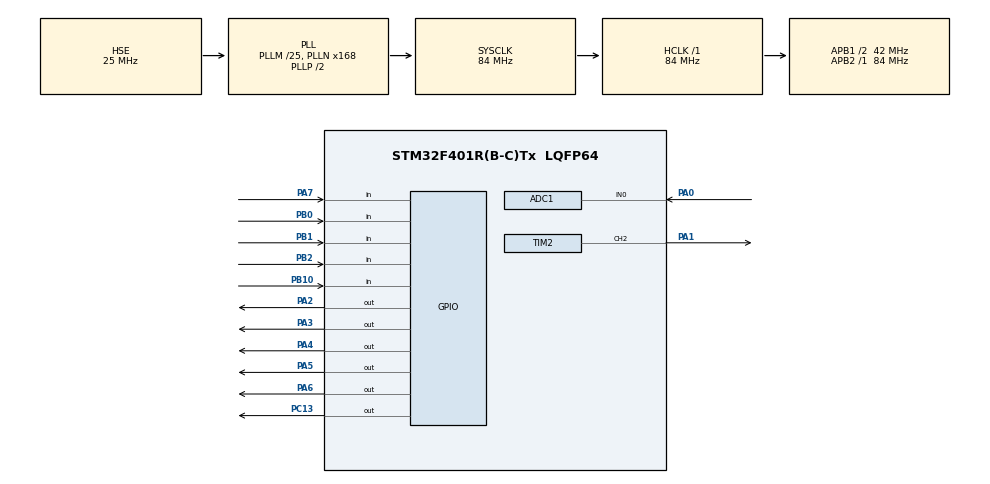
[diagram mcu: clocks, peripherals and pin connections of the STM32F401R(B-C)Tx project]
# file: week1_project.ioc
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ADC1.Channel-0\#ChannelRegularConversion=ADC_CHANNEL_0
ADC1.NbrOfConversionFlag=1
ADC1.Rank-0\#ChannelRegularConversion=1
ADC1.SamplingTime-0\#ChannelRegularConversion=ADC_SAMPLETIME_3CYCLES
ADC1.master=1
Mcu.Family=STM32F4
Mcu.Name=STM32F401R(B-C)Tx
Mcu.Package=LQFP64
NVIC.PriorityGroup=NVIC_PRIORITYGROUP_4
PA0-WKUP.Signal=ADCx_IN0
PA1.Signal=S_TIM2_CH2
PA2.Signal=GPIO_Output
PA3.Signal=GPIO_Output
PA4.Signal=GPIO_Output
PA5.Signal=GPIO_Output
PA6.Signal=GPIO_Output
PA7.GPIO_PuPd=GPIO_PULLUP
PA7.Signal=GPIO_Input
PB0.GPIO_PuPd=GPIO_PULLUP
PB0.Signal=GPIO_Input
PB1.GPIO_PuPd=GPIO_PULLUP
PB1.Signal=GPIO_Input
PB10.GPIO_PuPd=GPIO_PULLUP
PB10.Signal=GPIO_Input
PB2.GPIO_PuPd=GPIO_PULLUP
PB2.Signal=GPIO_Input
PC13-ANTI_TAMP.Signal=GPIO_Output
PH0\ -\ OSC_IN.Mode=HSE-External-Oscillator
PH0\ -\ OSC_IN.Signal=RCC_OSC_IN
PH1\ -\ OSC_OUT.Mode=HSE-External-Oscillator
PH1\ -\ OSC_OUT.Signal=RCC_OSC_OUT
ProjectManager.HeapSize=0x200
ProjectManager.StackSize=0x400
ProjectManager.TargetToolchain=STM32CubeIDE
RCC.48MHZClocksFreq_Value=42000000
RCC.AHBFreq_Value=84000000
RCC.APB1CLKDivider=RCC_HCLK_DIV2
RCC.APB1Freq_Value=42000000
RCC.APB1TimFreq_Value=84000000
RCC.APB2Freq_Value=84000000
RCC.APB2TimFreq_Value=84000000
RCC.CortexFreq_Value=84000000
RCC.HCLKFreq_Value=84000000
RCC.HSE_VALUE=25000000
RCC.HSI_VALUE=16000000
RCC.LSE_VALUE=32768
RCC.PLLM=25
RCC.PLLN=168
RCC.PLLSourceVirtual=RCC_PLLSOURCE_HSE
RCC.SYSCLKFreq_VALUE=84000000
RCC.SYSCLKSource=RCC_SYSCLKSOURCE_PLLCLK
RCC.VCOOutputFreq_Value=168000000
SH.ADCx_IN0.0=ADC1_IN0,IN0
SH.S_TIM2_CH2.0=TIM2_CH2,PWM Generation2 CH2
TIM2.Channel-PWM\ Generation2\ CH2=TIM_CHANNEL_2
VP_TIM2_VS_ClockSourceINT.Mode=Internal
board=custom

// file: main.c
/* USER CODE BEGIN Header */
/**
  ******************************************************************************
  * @file           : main.c
  * @brief          : Main program body
  ******************************************************************************
  * @attention
  *
  * Copyright (c) 2026 STMicroelectronics.
  * All rights reserved.
  *
  * This software is licensed under terms that can be found in the LICENSE file
  * in the root directory of this software component.
  * If no LICENSE file comes with this software, it is provided AS-IS.
  *
  ******************************************************************************
  */
/* USER CODE END Header */
#include "main.h"
#include "stdlib.h"
#include "stdio.h"

ADC_HandleTypeDef hadc1;

TIM_HandleTypeDef htim2;

void SystemClock_Config(void);
static void MX_GPIO_Init(void);
static void MX_ADC1_Init(void);
static void MX_TIM2_Init(void);

/* USER CODE BEGIN 0 */

void TurnOnLed (int ledNumber) {
		switch (ledNumber) {
		  case 0:
		    HAL_GPIO_WritePin (GPIOA, GPIO_PIN_2, GPIO_PIN_SET);
		    break;
		  case 1:
			  HAL_GPIO_WritePin (GPIOA, GPIO_PIN_3, GPIO_PIN_SET);
			  break;
		  case 2:
			  HAL_GPIO_WritePin (GPIOA, GPIO_PIN_4, GPIO_PIN_SET);
			  break;
		  case 3:
			  HAL_GPIO_WritePin (GPIOA, GPIO_PIN_5, GPIO_PIN_SET);
			  break;
		  case 4:
			  HAL_GPIO_WritePin (GPIOA, GPIO_PIN_6, GPIO_PIN_SET);
			  break;
		  default:
			  break;
		}
	}

void TurnOffAllLeds(void) {
    HAL_GPIO_WritePin(
        GPIOA,
        GPIO_PIN_2 | GPIO_PIN_3 | GPIO_PIN_4 |
        GPIO_PIN_5 | GPIO_PIN_6,
        GPIO_PIN_RESET
    );
}

void LoseSequence () {
	TurnOffAllLeds ();
	//Blink all LED
	for (int i= 0; i< 5; i++) {
		//Turn on LED.
		HAL_GPIO_WritePin (GPIOA,
				           GPIO_PIN_2 | GPIO_PIN_3 | GPIO_PIN_4 | GPIO_PIN_5 | GPIO_PIN_6,
						   GPIO_PIN_SET);
		HAL_Delay (500);
		//Turn off LED.
		HAL_GPIO_WritePin (GPIOA,
						           GPIO_PIN_2 | GPIO_PIN_3 | GPIO_PIN_4 | GPIO_PIN_5 | GPIO_PIN_6,
								   GPIO_PIN_RESET);
		HAL_Delay (500);
	}
}
void WinSequence () {
	for (int i= 0; i< 5; i++) {
		//Turn on sixth LED.
		HAL_GPIO_WritePin (GPIOC, GPIO_PIN_13, GPIO_PIN_SET);
		HAL_Delay (500);
		//Turn off sixth LED.
		HAL_GPIO_WritePin (GPIOC, GPIO_PIN_13, GPIO_PIN_RESET);
		HAL_Delay (500);
	}
}

/* USER CODE END 0 */

int main(void)
{

  /* MCU Configuration--------------------------------------------------------*/

  /* Reset of all peripherals, Initializes the Flash interface and the Systick. */
  HAL_Init();

  /* Configure the system clock */
  SystemClock_Config();

  /* Initialize all configured peripherals */
  MX_GPIO_Init();
  MX_ADC1_Init();
  MX_TIM2_Init();

  /* Infinite loop */
  /* USER CODE BEGIN WHILE */

  int win_count= 0;
  int lose_count= 0;
  while (1)
  {
	int led1;
	int led2;
	int led3;

	int led1State= 0;
	int led2State= 0;
	int led3State= 0;
	int led4State= 0;
	int led5State= 0;

    //Turn off all led before new selection.
	TurnOffAllLeds ();
	//Randomly select LED.
	led1= rand() %5;
	do {
		led2= rand() %5;
	}
	while (led2== led1);
	do {
		led3= rand() %5;
	}
	while (led3== led1 || led3== led2);
	//Track with turn on LED.
	if (led1== 0 || led2== 0 || led3== 0) {
		led1State= 1;
	}
	if (led1== 1 || led2== 1 || led3== 1) {
		led2State= 1;
	}
	if (led1== 2 || led2== 2 || led3== 2) {
		led3State= 1;
	}
	if (led1== 3 || led2== 3 || led3== 3) {
		led4State= 1;
	}
	if (led1== 4 || led2== 4 || led3== 4) {
		led5State= 1;
	}
	//Call out function
	TurnOnLed (led1);
	TurnOnLed (led2);
	TurnOnLed (led3);

	//Potentiometer
	HAL_ADC_Start (&hadc1);
	//Wait for conversion.
	HAL_ADC_PollForConversion (&hadc1, HAL_MAX_DELAY);
	//Get ADC value.
	int adcValue= HAL_ADC_GetValue (&hadc1);
	//Convert ADC to time limit.
	int timeLimit= 1000U+ (9000U* adcValue)/ 4095U;
	HAL_ADC_Stop (&hadc1);

	//Check whether the button has been pressed within time limit.
	uint32_t startTime= HAL_GetTick ();
	while (((HAL_GetTick ()- startTime)< timeLimit)&& (led1State== 1 || led2State== 1 || led3State== 1 || led4State== 1 || led5State== 1)) {
	    //If fall over time limit, then it will exit this WHILE loops.
		//Get the button state.
		int button1State= HAL_GPIO_ReadPin (GPIOA, GPIO_PIN_7);
		int button2State= HAL_GPIO_ReadPin (GPIOB, GPIO_PIN_0);
		int button3State= HAL_GPIO_ReadPin (GPIOB, GPIO_PIN_1);
		int button4State= HAL_GPIO_ReadPin (GPIOB, GPIO_PIN_2);
		int button5State= HAL_GPIO_ReadPin (GPIOB, GPIO_PIN_10);
		//Button activating.
		if (led1State== 1 && button1State== GPIO_PIN_RESET) {
			HAL_GPIO_WritePin (GPIOA, GPIO_PIN_2, GPIO_PIN_RESET);
			led1State= 0;
		}
		if (led2State== 1 && button2State== GPIO_PIN_RESET) {
			HAL_GPIO_WritePin (GPIOA, GPIO_PIN_3, GPIO_PIN_RESET);
			led2State= 0;
		}
		if (led3State== 1 && button3State== GPIO_PIN_RESET) {
			HAL_GPIO_WritePin (GPIOA, GPIO_PIN_4, GPIO_PIN_RESET);
			led3State= 0;
		}
		if (led4State== 1 && button4State== GPIO_PIN_RESET) {
			HAL_GPIO_WritePin (GPIOA, GPIO_PIN_5, GPIO_PIN_RESET);
			led4State= 0;
		}
		if (led5State== 1 && button5State== GPIO_PIN_RESET) {
			HAL_GPIO_WritePin (GPIOA, GPIO_PIN_6, GPIO_PIN_RESET);
			led5State= 0;
		}
	}
	if (led1State== 1 || led2State== 1 || led3State== 1 || led4State== 1 || led5State== 1) {
	   lose_count++;

	}
	else {
		//All three led light off successfully.
		win_count++;
	}
	//If user lose three times
	if (lose_count== 3) {
	   LoseSequence ();
	   lose_count= 0;
	}
	//If user win three time.
	if (win_count== 3) {
		WinSequence ();
		win_count= 0;
	}

    HAL_Delay (1000);
  }
}

void SystemClock_Config(void)
{
  RCC_OscInitTypeDef RCC_OscInitStruct = {0};
  RCC_ClkInitTypeDef RCC_ClkInitStruct = {0};

  /** Configure the main internal regulator output voltage
  */
  __HAL_RCC_PWR_CLK_ENABLE();
  __HAL_PWR_VOLTAGESCALING_CONFIG(PWR_REGULATOR_VOLTAGE_SCALE2);

  /** Initializes the RCC Oscillators according to the specified parameters
  * in the RCC_OscInitTypeDef structure.
  */
  RCC_OscInitStruct.OscillatorType = RCC_OSCILLATORTYPE_HSE;
  RCC_OscInitStruct.HSEState = RCC_HSE_ON;
  RCC_OscInitStruct.PLL.PLLState = RCC_PLL_ON;
  RCC_OscInitStruct.PLL.PLLSource = RCC_PLLSOURCE_HSE;
  RCC_OscInitStruct.PLL.PLLM = 25;
  RCC_OscInitStruct.PLL.PLLN = 168;
  RCC_OscInitStruct.PLL.PLLP = RCC_PLLP_DIV2;
  RCC_OscInitStruct.PLL.PLLQ = 4;
  if (HAL_RCC_OscConfig(&RCC_OscInitStruct) != HAL_OK)
  {
    Error_Handler();
  }

  /** Initializes the CPU, AHB and APB buses clocks
  */
  RCC_ClkInitStruct.ClockType = RCC_CLOCKTYPE_HCLK|RCC_CLOCKTYPE_SYSCLK
                              |RCC_CLOCKTYPE_PCLK1|RCC_CLOCKTYPE_PCLK2;
  RCC_ClkInitStruct.SYSCLKSource = RCC_SYSCLKSOURCE_PLLCLK;
  RCC_ClkInitStruct.AHBCLKDivider = RCC_SYSCLK_DIV1;
  RCC_ClkInitStruct.APB1CLKDivider = RCC_HCLK_DIV2;
  RCC_ClkInitStruct.APB2CLKDivider = RCC_HCLK_DIV1;

  if (HAL_RCC_ClockConfig(&RCC_ClkInitStruct, FLASH_LATENCY_2) != HAL_OK)
  {
    Error_Handler();
  }
}

static void MX_ADC1_Init(void)
{

  ADC_ChannelConfTypeDef sConfig = {0};

  /** Configure the global features of the ADC (Clock, Resolution, Data Alignment and number of conversion)
  */
  hadc1.Instance = ADC1;
  hadc1.Init.ClockPrescaler = ADC_CLOCK_SYNC_PCLK_DIV4;
  hadc1.Init.Resolution = ADC_RESOLUTION_12B;
  hadc1.Init.ScanConvMode = DISABLE;
  hadc1.Init.ContinuousConvMode = DISABLE;
  hadc1.Init.DiscontinuousConvMode = DISABLE;
  hadc1.Init.ExternalTrigConvEdge = ADC_EXTERNALTRIGCONVEDGE_NONE;
  hadc1.Init.ExternalTrigConv = ADC_SOFTWARE_START;
  hadc1.Init.DataAlign = ADC_DATAALIGN_RIGHT;
  hadc1.Init.NbrOfConversion = 1;
  hadc1.Init.DMAContinuousRequests = DISABLE;
  hadc1.Init.EOCSelection = ADC_EOC_SINGLE_CONV;
  if (HAL_ADC_Init(&hadc1) != HAL_OK)
  {
    Error_Handler();
  }

  /** Configure for the selected ADC regular channel its corresponding rank in the sequencer and its sample time.
  */
  sConfig.Channel = ADC_CHANNEL_0;
  sConfig.Rank = 1;
  sConfig.SamplingTime = ADC_SAMPLETIME_3CYCLES;
  if (HAL_ADC_ConfigChannel(&hadc1, &sConfig) != HAL_OK)
  {
    Error_Handler();
  }

}

static void MX_TIM2_Init(void)
{

  TIM_ClockConfigTypeDef sClockSourceConfig = {0};
  TIM_MasterConfigTypeDef sMasterConfig = {0};
  TIM_OC_InitTypeDef sConfigOC = {0};

  htim2.Instance = TIM2;
  htim2.Init.Prescaler = 0;
  htim2.Init.CounterMode = TIM_COUNTERMODE_UP;
  htim2.Init.Period = 4294967295;
  htim2.Init.ClockDivision = TIM_CLOCKDIVISION_DIV1;
  htim2.Init.AutoReloadPreload = TIM_AUTORELOAD_PRELOAD_DISABLE;
  if (HAL_TIM_Base_Init(&htim2) != HAL_OK)
  {
    Error_Handler();
  }
  sClockSourceConfig.ClockSource = TIM_CLOCKSOURCE_INTERNAL;
  if (HAL_TIM_ConfigClockSource(&htim2, &sClockSourceConfig) != HAL_OK)
  {
    Error_Handler();
  }
  if (HAL_TIM_PWM_Init(&htim2) != HAL_OK)
  {
    Error_Handler();
  }
  sMasterConfig.MasterOutputTrigger = TIM_TRGO_RESET;
  sMasterConfig.MasterSlaveMode = TIM_MASTERSLAVEMODE_DISABLE;
  if (HAL_TIMEx_MasterConfigSynchronization(&htim2, &sMasterConfig) != HAL_OK)
  {
    Error_Handler();
  }
  sConfigOC.OCMode = TIM_OCMODE_PWM1;
  sConfigOC.Pulse = 0;
  sConfigOC.OCPolarity = TIM_OCPOLARITY_HIGH;
  sConfigOC.OCFastMode = TIM_OCFAST_DISABLE;
  if (HAL_TIM_PWM_ConfigChannel(&htim2, &sConfigOC, TIM_CHANNEL_2) != HAL_OK)
  {
    Error_Handler();
  }
  HAL_TIM_MspPostInit(&htim2);

}

static void MX_GPIO_Init(void)
{
  GPIO_InitTypeDef GPIO_InitStruct = {0};

  /* GPIO Ports Clock Enable */
  __HAL_RCC_GPIOC_CLK_ENABLE();
  __HAL_RCC_GPIOH_CLK_ENABLE();
  __HAL_RCC_GPIOA_CLK_ENABLE();
  __HAL_RCC_GPIOB_CLK_ENABLE();

  /*Configure GPIO pin Output Level */
  HAL_GPIO_WritePin(GPIOA, GPIO_PIN_2|GPIO_PIN_3|GPIO_PIN_4|GPIO_PIN_5
                          |GPIO_PIN_6, GPIO_PIN_RESET);

  /*Configure GPIO pin : PC13 */
  GPIO_InitStruct.Pin = GPIO_PIN_13;
  GPIO_InitStruct.Mode = GPIO_MODE_OUTPUT_PP;
  GPIO_InitStruct.Pull = GPIO_NOPULL;
  HAL_GPIO_Init(GPIOC, &GPIO_InitStruct);

  /*Configure GPIO pins : PA2 PA3 PA4 PA5
                           PA6 */
  GPIO_InitStruct.Pin = GPIO_PIN_2|GPIO_PIN_3|GPIO_PIN_4|GPIO_PIN_5
                          |GPIO_PIN_6;
  GPIO_InitStruct.Mode = GPIO_MODE_OUTPUT_PP;
  GPIO_InitStruct.Pull = GPIO_NOPULL;
  GPIO_InitStruct.Speed = GPIO_SPEED_FREQ_LOW;
  HAL_GPIO_Init(GPIOA, &GPIO_InitStruct);

  /*Configure GPIO pin : PA7 */
  GPIO_InitStruct.Pin = GPIO_PIN_7;
  GPIO_InitStruct.Mode = GPIO_MODE_INPUT;
  GPIO_InitStruct.Pull = GPIO_PULLUP;
  HAL_GPIO_Init(GPIOA, &GPIO_InitStruct);

  /*Configure GPIO pins : PB0 PB1 PB2 PB10 */
  GPIO_InitStruct.Pin = GPIO_PIN_0|GPIO_PIN_1|GPIO_PIN_2|GPIO_PIN_10;
  GPIO_InitStruct.Mode = GPIO_MODE_INPUT;
  GPIO_InitStruct.Pull = GPIO_PULLUP;
  HAL_GPIO_Init(GPIOB, &GPIO_InitStruct);

}

void Error_Handler(void)
{
  __disable_irq();
  while (1)
  {
  }
}
